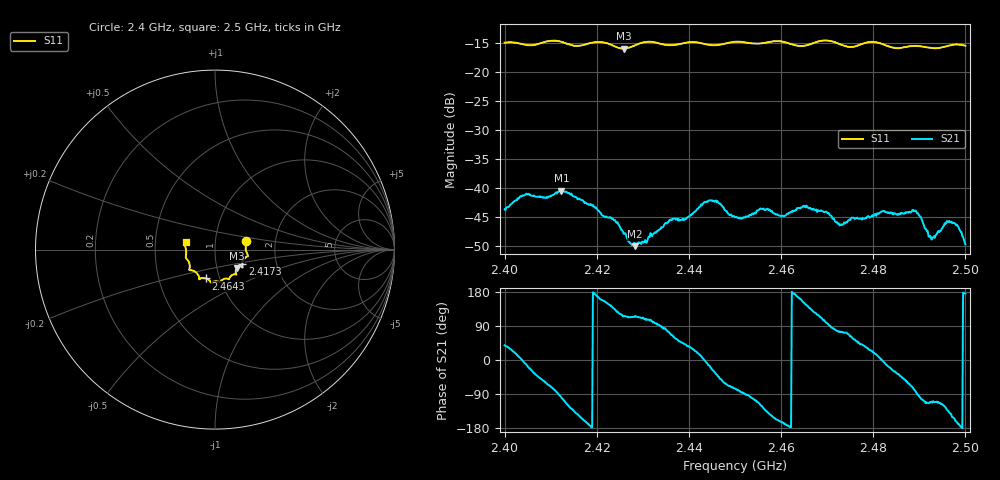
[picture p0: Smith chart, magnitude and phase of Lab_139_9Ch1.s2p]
# Hz S RI R 50
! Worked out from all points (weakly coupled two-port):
!   601 points, 2.4 GHz to 2.5 GHz, reference 50 ohm
!   highest |S21| = -40.49 dB at 2.4123 GHz (marker M1); lowest = -50.0 dB at 2.4283 GHz (marker M2)
!   lowest |S11| = -15.9 dB at 2.4258 GHz (marker M3), VSWR 1.38, Z = 62.3 - j13.2 ohm
!   |S11| at or under -10 dB: start of sweep to end of sweep
!   S12 and S22 are empty: the file has one direction only
!   S11 on the Smith chart (normalised r, x): 2.4 GHz: 1.41, +0.14; 2.4173 GHz: 1.34, -0.23; 2.4643 GHz: 0.86, -0.28; 2.5 GHz: 0.72, +0.06
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2.4e9  0.1732 0.0487  0.0051 0.0041  0 0  0 0
2.404333e9  0.1715 0.0219  0.00859 -0.00122  0 0  0 0
2.408833e9  0.181 -0.0275  0.00431 -0.00698  0 0  0 0
2.412333e9  0.179 -0.0385  -0.0015 -0.00933  0 0  0 0
2.416667e9  0.1528 -0.0749  -0.00705 -0.00353  0 0  0 0
2.417333e9  0.1519 -0.0823  -0.00696 -0.00253  0 0  0 0
2.4235e9  0.1411 -0.0942  -0.00403 0.00367  0 0  0 0
2.425833e9  0.1219 -0.1033  -0.00174 0.00363  0 0  0 0
2.428333e9  0.1151 -0.1263  -0.00138 0.00282  0 0  0 0
2.433333e9  0.1128 -0.1375  -0.000235 0.00427  0 0  0 0
2.4445e9  0.0594 -0.1612  0.00753 -0.00206  0 0  0 0
2.45e9  0.0288 -0.1809  0.0014 -0.00539  0 0  0 0
2.455833e9  -0.00512 -0.1776  -0.00342 -0.00565  0 0  0 0
2.4605e9  -0.0256 -0.1813  -0.00555 -0.00143  0 0  0 0
2.464333e9  -0.0502 -0.1605  -0.00638 0.00234  0 0  0 0
2.466667e9  -0.0761 -0.1589  -0.0044 0.00488  0 0  0 0
2.473e9  -0.0909 -0.1469  0.0014 0.00465  0 0  0 0
2.483333e9  -0.1409 -0.0898  0.00587 -0.00188  0 0  0 0
2.489e9  -0.1625 -0.0451  0.00116 -0.00625  0 0  0 0
2.4925e9  -0.1607 -0.0201  -0.00142 -0.0035  0 0  0 0
2.497e9  -0.1694 0.0269  -0.00428 -0.00281  0 0  0 0
2.5e9  -0.1638 0.0425  -0.00325 0.000259  0 0  0 0
